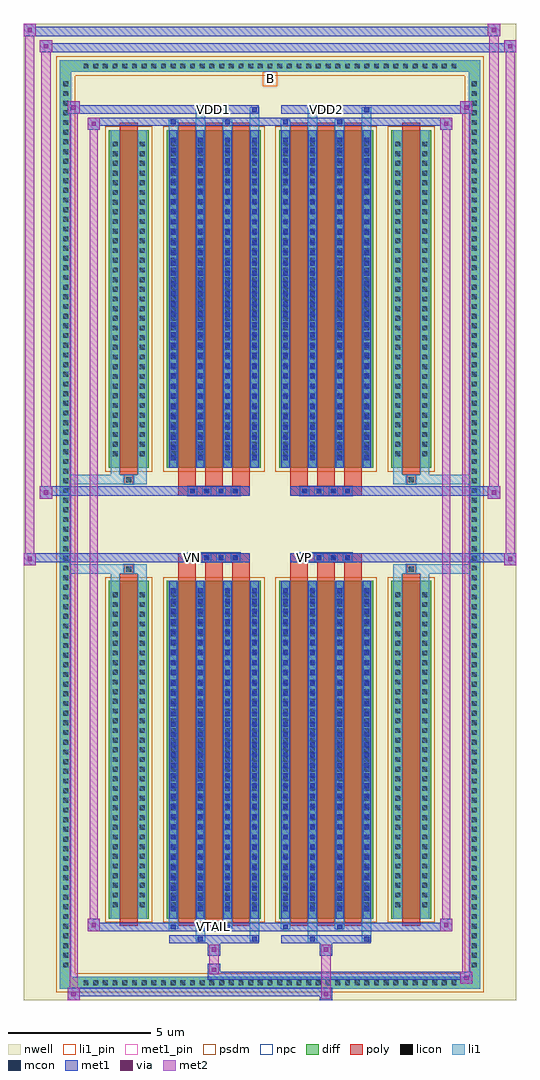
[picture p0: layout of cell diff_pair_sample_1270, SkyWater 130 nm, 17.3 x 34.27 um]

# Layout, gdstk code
import gdstk
lib = gdstk.Library(unit=1e-6, precision=5e-09)
def R(c, l, rs):  # rectangles x0, y0, x1, y1
    for r in rs: c.add(gdstk.rectangle(r[:2], r[2:], *l))
def A(c, l, x, y, w, h, nx, ny, dx, dy):  # array of equal rectangles
    R(c, l, [(x+i*dx, y+j*dy, x+i*dx+w, y+j*dy+h) for i in range(nx) for j in range(ny)])
def P(c, l, *ps):  # polygons
    for p in ps: c.add(gdstk.Polygon(p, *l))
nwell = (64, 20)
diff = (65, 20)
poly = (66, 20)
licon = (66, 44)
li1_pin = (67, 16)
li1 = (67, 20)
mcon = (67, 44)
met1_pin = (68, 16)
met1 = (68, 20)
via = (68, 44)
met2 = (69, 20)
psdm = (94, 20)
npc = (95, 20)

diff_pair_sample_1270 = lib.new_cell('diff_pair_sample_1270')
R(diff_pair_sample_1270, nwell, [(-8.65,-16.7,8.65,17.57), (-5.97,-14.89,-0.01,-0.805), (0.01,-14.89,5.97,-0.805), (-5.97,0.805,-0.01,14.89), (0.01,0.805,5.97,14.89)])
A(diff_pair_sample_1270, diff, -6.665, -16.3, 0.41, 0.41, 39, 2, 0.34, 32.19)
A(diff_pair_sample_1270, diff, -7.38, -15.675, 0.41, 0.41, 1, 92, 0, 0.34)
A(diff_pair_sample_1270, diff, 6.97, -15.675, 0.41, 0.41, 1, 92, 0, 0.34)
R(diff_pair_sample_1270, diff, [(-6.665,-16.3,6.665,-15.89), (-7.38,-15.675,-6.97,15.675), (6.97,-15.675,7.38,15.675), (-5.66,-13.845,-4.26,-1.985), (-3.62,-13.845,-0.32,-1.985), (0.32,-13.845,3.62,-1.985), (4.26,-13.845,5.66,-1.985), (-5.66,1.985,-4.26,13.845), (-3.62,1.985,-0.32,13.845), (0.32,1.985,3.62,13.845), (4.26,1.985,5.66,13.845), (-6.665,15.89,6.665,16.3)])
P(diff_pair_sample_1270, diff, [(7.38,16.3),(-7.38,16.3),(-7.38,-15.89),(-6.97,-15.89),(-6.97,15.89),(6.97,15.89),(6.97,-15.89),(-6.97,-15.89),(-7.38,-15.89),(-7.38,-16.3),(7.38,-16.3)])
A(diff_pair_sample_1270, poly, -3.23, -14.095, 0.62, 12.36, 3, 2, 0.95, 15.83)
A(diff_pair_sample_1270, poly, 0.71, -14.095, 0.62, 12.36, 3, 2, 0.95, 15.83)
A(diff_pair_sample_1270, poly, -3.23, -1.735, 0.62, 0.4, 3, 2, 0.95, 3.07)
A(diff_pair_sample_1270, poly, 0.71, -1.735, 0.62, 0.4, 3, 2, 0.95, 3.07)
A(diff_pair_sample_1270, poly, -2.885, -1.335, 0.33, 0.33, 4, 2, 0.5, 2.34)
A(diff_pair_sample_1270, poly, 1.055, -1.335, 0.33, 0.33, 4, 2, 0.5, 2.34)
R(diff_pair_sample_1270, poly, [(-5.27,-14.095,-4.65,-1.735), (4.65,-14.095,5.27,-1.735), (-5.125,-1.735,-4.795,-1.405), (-5.125,-1.735,-4.795,-1.405), (4.795,-1.735,5.125,-1.405), (4.795,-1.735,5.125,-1.405), (-3.23,-1.335,-0.71,-1.005), (0.71,-1.335,3.23,-1.005), (-3.23,1.005,-0.71,1.335), (0.71,1.005,3.23,1.335), (-5.125,1.405,-4.795,1.735), (-5.125,1.405,-4.795,1.735), (4.795,1.405,5.125,1.735), (4.795,1.405,5.125,1.735), (-5.27,1.735,-4.65,14.095), (4.65,1.735,5.27,14.095)])
A(diff_pair_sample_1270, licon, -6.545, -16.18, 0.17, 0.17, 39, 2, 0.34, 32.19)
A(diff_pair_sample_1270, licon, -7.26, -15.555, 0.17, 0.17, 1, 92, 0, 0.34)
A(diff_pair_sample_1270, licon, 7.09, -15.555, 0.17, 0.17, 1, 92, 0, 0.34)
A(diff_pair_sample_1270, licon, -5.52, -13.44, 0.17, 0.17, 1, 33, 0, 0.34)
A(diff_pair_sample_1270, licon, -4.57, -13.44, 0.17, 0.17, 1, 33, 0, 0.34)
A(diff_pair_sample_1270, licon, -3.48, -13.44, 0.17, 0.17, 4, 33, 0.95, 0.34)
A(diff_pair_sample_1270, licon, 0.46, -13.44, 0.17, 0.17, 4, 33, 0.95, 0.34)
A(diff_pair_sample_1270, licon, 4.4, -13.44, 0.17, 0.17, 1, 33, 0, 0.34)
A(diff_pair_sample_1270, licon, 5.35, -13.44, 0.17, 0.17, 1, 33, 0, 0.34)
A(diff_pair_sample_1270, licon, -2.805, -1.255, 0.17, 0.17, 4, 2, 0.5, 2.34)
A(diff_pair_sample_1270, licon, 1.135, -1.255, 0.17, 0.17, 4, 2, 0.5, 2.34)
A(diff_pair_sample_1270, licon, -5.52, 2.39, 0.17, 0.17, 1, 33, 0, 0.34)
A(diff_pair_sample_1270, licon, -4.57, 2.39, 0.17, 0.17, 1, 33, 0, 0.34)
A(diff_pair_sample_1270, licon, -3.48, 2.39, 0.17, 0.17, 4, 33, 0.95, 0.34)
A(diff_pair_sample_1270, licon, 0.46, 2.39, 0.17, 0.17, 4, 33, 0.95, 0.34)
A(diff_pair_sample_1270, licon, 4.4, 2.39, 0.17, 0.17, 1, 33, 0, 0.34)
A(diff_pair_sample_1270, licon, 5.35, 2.39, 0.17, 0.17, 1, 33, 0, 0.34)
R(diff_pair_sample_1270, licon, [(-5.045,-1.655,-4.875,-1.485), (4.875,-1.655,5.045,-1.485), (-5.045,1.485,-4.875,1.655), (4.875,1.485,5.045,1.655)])
R(diff_pair_sample_1270, li1_pin, [(-0.25,15.39,0.25,15.89)])
A(diff_pair_sample_1270, li1, -6.625, -16.26, 0.33, 0.33, 39, 2, 0.34, 32.19)
A(diff_pair_sample_1270, li1, -7.34, -15.635, 0.33, 0.33, 1, 92, 0, 0.34)
A(diff_pair_sample_1270, li1, 7.01, -15.635, 0.33, 0.33, 1, 92, 0, 0.34)
A(diff_pair_sample_1270, li1, -3.56, -13.845, 0.33, 11.86, 4, 2, 0.95, 15.83)
A(diff_pair_sample_1270, li1, 0.38, -13.845, 0.33, 11.86, 4, 2, 0.95, 15.83)
A(diff_pair_sample_1270, li1, -3.48, -13.58, 0.17, 0.17, 4, 32, 0.95, 0.36)
A(diff_pair_sample_1270, li1, -3.48, -13.58, 0.17, 11.33, 4, 2, 0.95, 15.83)
A(diff_pair_sample_1270, li1, 0.46, -13.58, 0.17, 0.17, 4, 32, 0.95, 0.36)
A(diff_pair_sample_1270, li1, 0.46, -13.58, 0.17, 11.33, 4, 2, 0.95, 15.83)
A(diff_pair_sample_1270, li1, -5.6, -13.52, 0.33, 0.33, 1, 33, 0, 0.34)
A(diff_pair_sample_1270, li1, -4.65, -13.52, 0.33, 0.33, 1, 33, 0, 0.34)
A(diff_pair_sample_1270, li1, -3.56, -13.52, 0.33, 0.33, 4, 33, 0.95, 0.34)
A(diff_pair_sample_1270, li1, 0.38, -13.52, 0.33, 0.33, 4, 33, 0.95, 0.34)
A(diff_pair_sample_1270, li1, 4.32, -13.52, 0.33, 0.33, 1, 33, 0, 0.34)
A(diff_pair_sample_1270, li1, 5.27, -13.52, 0.33, 0.33, 1, 33, 0, 0.34)
A(diff_pair_sample_1270, li1, -2.885, -1.335, 0.33, 0.33, 4, 2, 0.5, 2.34)
A(diff_pair_sample_1270, li1, 1.055, -1.335, 0.33, 0.33, 4, 2, 0.5, 2.34)
A(diff_pair_sample_1270, li1, -3.48, 2.25, 0.17, 0.17, 4, 32, 0.95, 0.36)
A(diff_pair_sample_1270, li1, 0.46, 2.25, 0.17, 0.17, 4, 32, 0.95, 0.36)
A(diff_pair_sample_1270, li1, -5.6, 2.31, 0.33, 0.33, 1, 33, 0, 0.34)
A(diff_pair_sample_1270, li1, -4.65, 2.31, 0.33, 0.33, 1, 33, 0, 0.34)
A(diff_pair_sample_1270, li1, -3.56, 2.31, 0.33, 0.33, 4, 33, 0.95, 0.34)
A(diff_pair_sample_1270, li1, 0.38, 2.31, 0.33, 0.33, 4, 33, 0.95, 0.34)
A(diff_pair_sample_1270, li1, 4.32, 2.31, 0.33, 0.33, 1, 33, 0, 0.34)
A(diff_pair_sample_1270, li1, 5.27, 2.31, 0.33, 0.33, 1, 33, 0, 0.34)
R(diff_pair_sample_1270, li1, [(-7.38,-16.3,-6.97,-15.89), (-7.38,-16.3,-6.97,-15.89), (-6.97,-16.3,6.97,-15.89), (6.97,-16.3,7.38,-15.89), (6.97,-16.3,7.38,-15.89), (-7.38,-15.89,-6.97,15.89), (6.97,-15.89,7.38,15.89), (-2.61,-14.65,-2.28,-13.845), (-2.53,-14.65,-2.36,-14.48), (-0.71,-14.65,-0.38,-13.845), (-0.63,-14.65,-0.46,-14.48), (1.33,-14.65,1.66,-13.845), (1.41,-14.65,1.58,-14.48), (3.23,-14.65,3.56,-13.845), (3.31,-14.65,3.48,-14.48), (-3.56,-14.22,-3.23,-13.845), (-3.48,-14.22,-3.31,-14.05), (-1.66,-14.22,-1.33,-13.845), (-1.58,-14.22,-1.41,-14.05), (0.38,-14.22,0.71,-13.845), (0.46,-14.22,0.63,-14.05), (2.28,-14.22,2.61,-13.845), (2.36,-14.22,2.53,-14.05), (-5.6,-13.845,-5.27,-1.985), (-4.65,-13.845,-4.32,-1.985), (4.32,-13.845,4.65,-1.985), (5.27,-13.845,5.6,-1.985), (-5.6,-1.985,-5.27,-1.405), (-4.65,-1.985,-4.32,-1.405), (4.32,-1.985,4.65,-1.405), (5.27,-1.985,5.6,-1.405), (-7.38,-1.735,-5.125,-1.405), (-5.6,-1.735,-5.125,-1.405), (-5.125,-1.735,-4.795,-1.405), (-4.795,-1.735,-4.32,-1.405), (4.32,-1.735,4.795,-1.405), (4.795,-1.735,5.125,-1.405), (4.795,-1.735,7.38,-1.405), (5.125,-1.735,5.6,-1.405), (-7.38,1.405,-5.125,1.735), (-5.6,1.405,-5.125,1.735), (-5.6,1.405,-5.27,1.985), (-5.125,1.405,-4.795,1.735), (-4.795,1.405,-4.32,1.735), (-4.65,1.405,-4.32,1.985), (4.32,1.405,4.795,1.735), (4.32,1.405,4.65,1.985), (4.795,1.405,5.125,1.735), (4.795,1.405,7.38,1.735), (5.125,1.405,5.6,1.735), (5.27,1.405,5.6,1.985), (-5.6,1.985,-5.27,13.845), (-4.65,1.985,-4.32,13.845), (4.32,1.985,4.65,13.845), (5.27,1.985,5.6,13.845), (-3.56,13.845,-3.23,14.22), (-2.61,13.845,-2.28,14.65), (-1.66,13.845,-1.33,14.22), (-0.71,13.845,-0.38,14.65), (0.38,13.845,0.71,14.22), (1.33,13.845,1.66,14.65), (2.28,13.845,2.61,14.22), (3.23,13.845,3.56,14.65), (-3.48,14.05,-3.31,14.22), (-1.58,14.05,-1.41,14.22), (0.46,14.05,0.63,14.22), (2.36,14.05,2.53,14.22), (-2.53,14.48,-2.36,14.65), (-0.63,14.48,-0.46,14.65), (1.41,14.48,1.58,14.65), (3.31,14.48,3.48,14.65), (-7.38,15.89,-6.97,16.3), (-7.38,15.89,-6.97,16.3), (-6.97,15.89,6.97,16.3), (6.97,15.89,7.38,16.3), (6.97,15.89,7.38,16.3)])
A(diff_pair_sample_1270, mcon, -3.48, -13.58, 0.17, 0.17, 4, 32, 0.95, 0.36)
A(diff_pair_sample_1270, mcon, 0.46, -13.58, 0.17, 0.17, 4, 32, 0.95, 0.36)
A(diff_pair_sample_1270, mcon, -2.805, -1.255, 0.17, 0.17, 4, 2, 0.5, 2.34)
A(diff_pair_sample_1270, mcon, 1.135, -1.255, 0.17, 0.17, 4, 2, 0.5, 2.34)
A(diff_pair_sample_1270, mcon, -3.48, 2.25, 0.17, 0.17, 4, 32, 0.95, 0.36)
A(diff_pair_sample_1270, mcon, 0.46, 2.25, 0.17, 0.17, 4, 32, 0.95, 0.36)
R(diff_pair_sample_1270, mcon, [(-2.53,-14.65,-2.36,-14.48), (-0.63,-14.65,-0.46,-14.48), (1.41,-14.65,1.58,-14.48), (3.31,-14.65,3.48,-14.48), (-3.48,-14.22,-3.31,-14.05), (-1.58,-14.22,-1.41,-14.05), (0.46,-14.22,0.63,-14.05), (2.36,-14.22,2.53,-14.05), (-3.48,14.05,-3.31,14.22), (-1.58,14.05,-1.41,14.22), (0.46,14.05,0.63,14.22), (2.36,14.05,2.53,14.22), (-2.53,14.48,-2.36,14.65), (-0.63,14.48,-0.46,14.65), (1.41,14.48,1.58,14.65), (3.31,14.48,3.48,14.65)])
R(diff_pair_sample_1270, met1_pin, [(-2.105,-14.26,-1.835,-13.99), (-2.855,-1.295,-2.585,-1.025), (1.085,-1.295,1.355,-1.025), (-2.105,14.44,-1.835,14.71), (1.835,14.44,2.105,14.71)])
A(diff_pair_sample_1270, met1, -3.54, -13.845, 0.29, 11.86, 4, 2, 0.95, 15.83)
A(diff_pair_sample_1270, met1, 0.4, -13.845, 0.29, 11.86, 4, 2, 0.95, 15.83)
A(diff_pair_sample_1270, met1, -3.54, -13.64, 0.29, 0.29, 4, 32, 0.95, 0.36)
A(diff_pair_sample_1270, met1, 0.4, -13.64, 0.29, 0.29, 4, 32, 0.95, 0.36)
A(diff_pair_sample_1270, met1, -2.865, -1.315, 0.29, 0.29, 4, 2, 0.5, 2.34)
A(diff_pair_sample_1270, met1, 1.075, -1.315, 0.29, 0.29, 4, 2, 0.5, 2.34)
A(diff_pair_sample_1270, met1, -3.54, 2.19, 0.29, 0.29, 4, 32, 0.95, 0.36)
A(diff_pair_sample_1270, met1, 0.4, 2.19, 0.29, 0.29, 4, 32, 0.95, 0.36)
R(diff_pair_sample_1270, met1, [(-7.11,-16.7,-6.68,-16.27), (1.755,-16.7,2.185,-16.27), (-7.11,-16.56,2.185,-16.27), (6.68,-16.13,7.11,-15.7), (-2.185,-15.99,7.11,-15.7), (-2.185,-15.85,-1.755,-15.42), (-2.185,-15.14,-1.755,-14.71), (1.755,-15.14,2.185,-14.71), (-3.54,-14.71,-0.4,-14.42), (-2.59,-14.71,-2.3,-14.42), (-0.69,-14.71,-0.4,-14.42), (0.4,-14.71,3.54,-14.42), (1.35,-14.71,1.64,-14.42), (3.25,-14.71,3.54,-14.42), (-6.4,-14.28,-5.97,-13.85), (-6.4,-14.28,-3.54,-13.99), (-3.54,-14.28,-3.25,-13.99), (-3.54,-14.28,-0.4,-13.99), (-1.64,-14.28,-1.35,-13.99), (-0.4,-14.28,0.4,-13.99), (0.4,-14.28,0.69,-13.99), (0.4,-14.28,3.54,-13.99), (2.3,-14.28,2.59,-13.99), (3.54,-14.28,6.4,-13.99), (5.97,-14.28,6.4,-13.85), (-8.65,-1.435,-8.22,-1.005), (8.22,-1.435,8.65,-1.005), (-8.65,-1.335,-0.71,-1.005), (-3.23,-1.335,-0.71,-1.005), (0.71,-1.335,3.23,-1.005), (0.71,-1.335,8.65,-1.005), (-8.08,0.905,-7.65,1.335), (7.65,0.905,8.08,1.335), (-8.08,1.005,-3.23,1.335), (-3.23,1.005,-0.71,1.335), (0.71,1.005,3.23,1.335), (3.23,1.005,8.08,1.335), (-6.4,13.85,-5.97,14.28), (5.97,13.85,6.4,14.28), (-6.4,13.99,-3.54,14.28), (-3.54,13.99,-3.25,14.28), (-3.54,13.99,-0.4,14.28), (-1.64,13.99,-1.35,14.28), (-0.4,13.99,0.4,14.28), (0.4,13.99,0.69,14.28), (0.4,13.99,3.54,14.28), (2.3,13.99,2.59,14.28), (3.54,13.99,6.4,14.28), (-7.11,14.42,-6.68,14.85), (-7.11,14.42,-3.54,14.71), (-3.54,14.42,-0.4,14.71), (-2.59,14.42,-2.3,14.71), (-0.69,14.42,-0.4,14.71), (0.4,14.42,3.54,14.71), (1.35,14.42,1.64,14.71), (3.25,14.42,3.54,14.71), (3.54,14.42,7.11,14.71), (6.68,14.42,7.11,14.85), (-8.08,16.57,-7.65,17), (-8.08,16.57,-5.97,16.9), (-5.97,16.57,5.97,16.9), (5.97,16.57,8.65,16.9), (8.22,16.57,8.65,17), (-8.65,17.14,-8.22,17.57), (-8.65,17.14,-5.97,17.47), (-5.97,17.14,5.97,17.47), (5.97,17.14,8.08,17.47), (7.65,17.14,8.08,17.57)])
R(diff_pair_sample_1270, via, [(-6.97,-16.56,-6.82,-16.41), (1.895,-16.56,2.045,-16.41), (6.82,-15.99,6.97,-15.84), (-2.045,-15.71,-1.895,-15.56), (-2.045,-15,-1.895,-14.85), (1.895,-15,2.045,-14.85), (-6.26,-14.14,-6.11,-13.99), (6.11,-14.14,6.26,-13.99), (-8.51,-1.295,-8.36,-1.145), (8.36,-1.295,8.51,-1.145), (-7.94,1.045,-7.79,1.195), (7.79,1.045,7.94,1.195), (-6.26,13.99,-6.11,14.14), (6.11,13.99,6.26,14.14), (-6.97,14.56,-6.82,14.71), (6.82,14.56,6.97,14.71), (-7.94,16.71,-7.79,16.86), (8.36,16.71,8.51,16.86), (-8.51,17.28,-8.36,17.43), (7.79,17.28,7.94,17.43)])
R(diff_pair_sample_1270, met2, [(-7.11,-16.7,-6.68,-16.27), (-7.04,-16.7,-6.75,14.85), (-6.75,-16.7,-6.68,-16.27), (-7.06,-16.65,-6.73,-16.32), (1.805,-16.65,2.135,-16.32), (1.805,-16.32,2.135,-15.09), (6.68,-16.13,7.11,-15.7), (6.75,-16.13,7.04,14.85), (7.04,-16.13,7.11,-15.7), (6.73,-16.08,7.06,-15.75), (-2.135,-15.8,-1.805,-15.47), (-2.135,-15.47,-1.805,-15.09), (-2.135,-15.09,-1.805,-14.76), (1.805,-15.09,2.135,-14.76), (-6.4,-14.28,-5.97,-13.85), (-6.33,-14.28,-6.04,14.28), (-6.04,-14.28,-5.97,-13.85), (5.97,-14.28,6.4,-13.85), (6.04,-14.28,6.33,14.28), (6.33,-14.28,6.4,-13.85), (-6.35,-14.23,-6.02,-13.9), (6.02,-14.23,6.35,-13.9), (-8.65,-1.435,-8.22,-1.005), (-8.6,-1.435,-8.27,17.57), (-8.27,-1.435,-8.22,-1.005), (8.22,-1.435,8.65,-1.005), (8.27,-1.435,8.6,17), (8.6,-1.435,8.65,-1.005), (-8.6,-1.385,-8.27,-1.055), (8.27,-1.385,8.6,-1.055), (-8.08,0.905,-7.65,1.335), (-8.03,0.905,-7.7,17), (-7.7,0.905,-7.65,1.335), (7.65,0.905,8.08,1.335), (7.7,0.905,8.03,17.57), (8.03,0.905,8.08,1.335), (-8.03,0.955,-7.7,1.285), (7.7,0.955,8.03,1.285), (-6.4,13.85,-5.97,14.28), (-6.04,13.85,-5.97,14.28), (5.97,13.85,6.4,14.28), (6.33,13.85,6.4,14.28), (-6.35,13.9,-6.02,14.23), (6.02,13.9,6.35,14.23), (-7.11,14.42,-6.68,14.85), (-6.75,14.42,-6.68,14.85), (6.68,14.42,7.11,14.85), (7.04,14.42,7.11,14.85), (-7.06,14.47,-6.73,14.8), (6.73,14.47,7.06,14.8), (-8.08,16.57,-7.65,17), (-7.7,16.57,-7.65,17), (8.22,16.57,8.65,17), (8.6,16.57,8.65,17), (-8.03,16.62,-7.7,16.95), (8.27,16.62,8.6,16.95), (-8.65,17.14,-8.22,17.57), (-8.27,17.14,-8.22,17.57), (7.65,17.14,8.08,17.57), (8.03,17.14,8.08,17.57), (-8.6,17.19,-8.27,17.52), (7.7,17.19,8.03,17.52)])
R(diff_pair_sample_1270, psdm, [(-5.79,-13.975,-4.13,-1.855), (-3.75,-13.975,-0.19,-1.855), (0.19,-13.975,3.75,-1.855), (4.13,-13.975,5.79,-1.855), (-5.79,1.855,-4.13,13.975), (-3.75,1.855,-0.19,13.975), (0.19,1.855,3.75,13.975), (4.13,1.855,5.79,13.975)])
P(diff_pair_sample_1270, psdm, [(7.51,16.43),(-7.51,16.43),(-7.51,-15.76),(-6.84,-15.76),(-6.84,15.76),(6.84,15.76),(6.84,-15.76),(-6.84,-15.76),(-7.51,-15.76),(-7.51,-16.43),(7.51,-16.43)])
A(diff_pair_sample_1270, npc, -2.905, -1.355, 0.37, 0.37, 4, 2, 0.5, 2.34)
A(diff_pair_sample_1270, npc, 1.035, -1.355, 0.37, 0.37, 4, 2, 0.5, 2.34)
R(diff_pair_sample_1270, npc, [(-5.145,-1.755,-4.775,-1.385), (4.775,-1.755,5.145,-1.385), (-2.905,-1.355,-2.035,-0.985), (-2.905,-1.355,-2.035,-0.985), (-2.405,-1.355,-1.535,-0.985), (-2.405,-1.355,-1.535,-0.985), (-1.905,-1.355,-1.035,-0.985), (-1.905,-1.355,-1.035,-0.985), (1.035,-1.355,1.905,-0.985), (1.035,-1.355,1.905,-0.985), (1.535,-1.355,2.405,-0.985), (1.535,-1.355,2.405,-0.985), (2.035,-1.355,2.905,-0.985), (2.035,-1.355,2.905,-0.985), (-2.905,0.985,-2.035,1.355), (-2.905,0.985,-2.035,1.355), (-2.405,0.985,-1.535,1.355), (-2.405,0.985,-1.535,1.355), (-1.905,0.985,-1.035,1.355), (-1.905,0.985,-1.035,1.355), (1.035,0.985,1.905,1.355), (1.035,0.985,1.905,1.355), (1.535,0.985,2.405,1.355), (1.535,0.985,2.405,1.355), (2.035,0.985,2.905,1.355), (2.035,0.985,2.905,1.355), (-5.145,1.385,-4.775,1.755), (4.775,1.385,5.145,1.755)])
diff_pair_sample_1270.add(gdstk.Label('VTAIL', (-1.97,-14.125), layer=68, texttype=5))
diff_pair_sample_1270.add(gdstk.Label('VN', (-2.72,-1.16), layer=68, texttype=5))
diff_pair_sample_1270.add(gdstk.Label('VP', (1.22,-1.16), layer=68, texttype=5))
diff_pair_sample_1270.add(gdstk.Label('B', (0,15.64), layer=67, texttype=5))
diff_pair_sample_1270.add(gdstk.Label('VDD2', (1.97,14.575), layer=68, texttype=5))
diff_pair_sample_1270.add(gdstk.Label('VDD1', (-1.97,14.575), layer=68, texttype=5))

lib.write_gds('diff_pair_sample_1270.gds')
